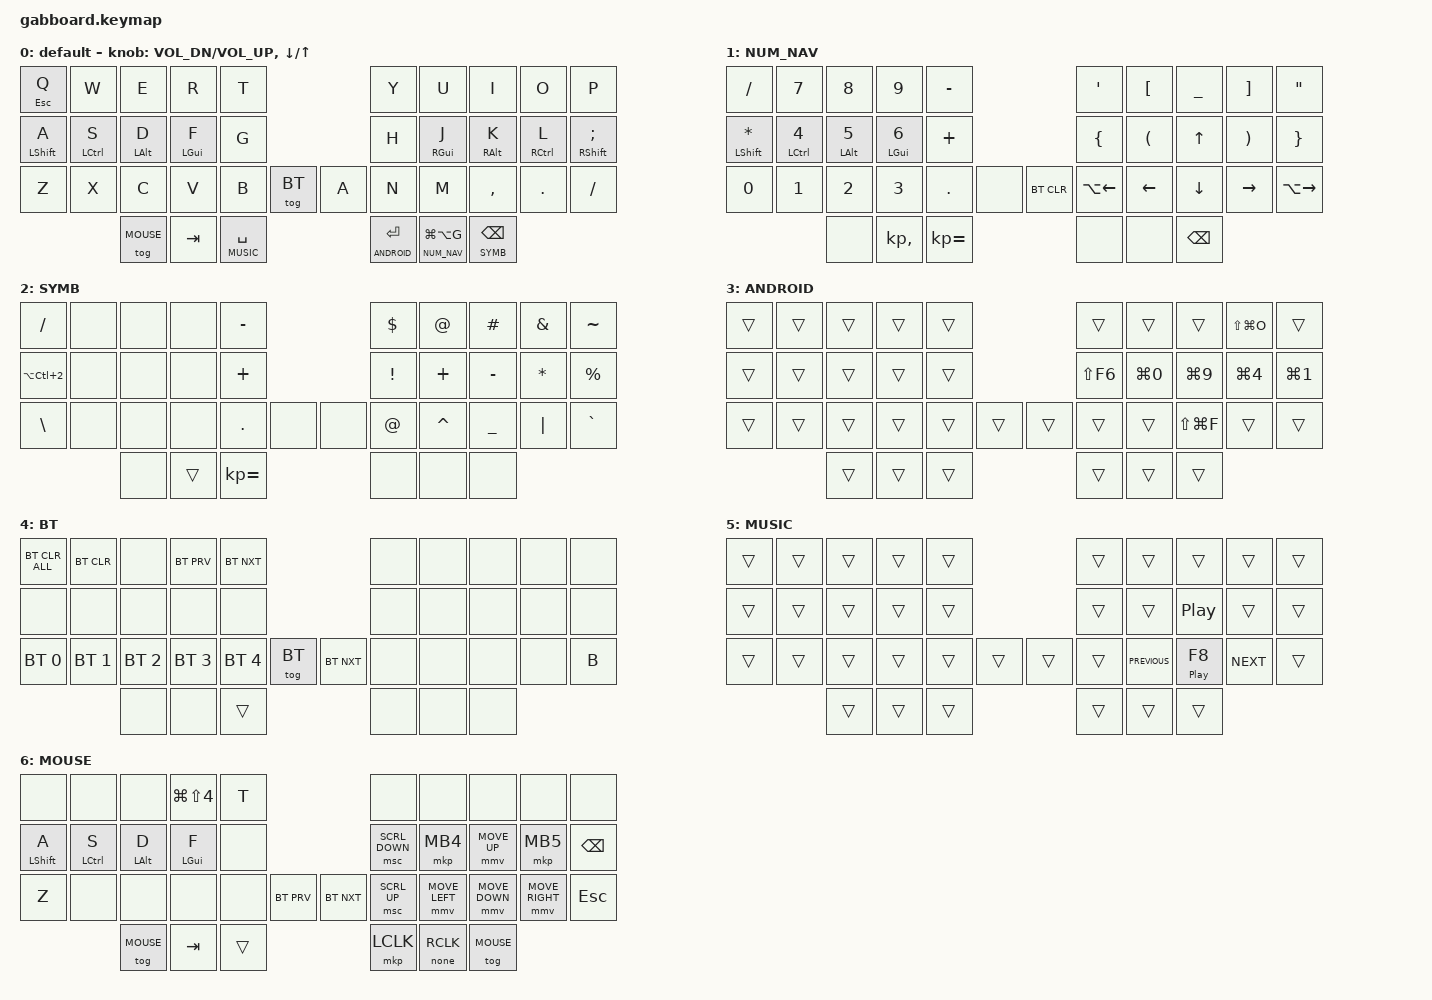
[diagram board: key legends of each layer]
/*
 * Copyright (c) 2020 The ZMK Contributors
 *
 * SPDX-License-Identifier: MIT
 */

#include <behaviors.dtsi>
#include <dt-bindings/zmk/bt.h>
#include <dt-bindings/zmk/keys.h>
#include <dt-bindings/zmk/pointing.h>
#include "mouse.dtsi"

// Layers

#define DEFAULT 0
#define NUM_NAV 1
#define SYMB 2
#define ANDROID 3
#define BT 4
#define MUSIC 5
#define MOUSE 6

/ {
    behaviors {
        hml: home_row_mod_left {
            compatible = "zmk,behavior-hold-tap";
            #binding-cells = <2>;
            flavor = "balanced";
            require-prior-idle-ms = <150>;
            tapping-term-ms = <200>;
            quick-tap-ms = <175>;
            bindings = <&kp>, <&kp>;
            hold-trigger-key-positions = < 5 6 7 8 9 15 16 17 18 19 27 28 29 30 31 35 36 37 >;
            hold-trigger-on-release;
        };

        hmr: home_row_mod_right {
            compatible = "zmk,behavior-hold-tap";
            #binding-cells = <2>;
            flavor = "balanced";
            require-prior-idle-ms = <150>;
            tapping-term-ms = <200>;
            quick-tap-ms = <175>;
            bindings = <&kp>, <&kp>;
            hold-trigger-key-positions = < 0 1 2 3 4 10 11 12 13 14 20 21 22 23 24 32 33 34 >;
            hold-trigger-on-release;
        };

        hm: homerow_mods {
            compatible = "zmk,behavior-hold-tap";
            label = "HOMEROW_MODS";
            #binding-cells = <2>;
            tapping-term-ms = <200>;
            quick-tap-ms = <0>;
            flavor = "balanced";
            bindings = <&kp>, <&kp>;
        };

        hplt: hold_preferred-lt {
            compatible = "zmk,behavior-hold-tap";
            label = "HOLD_PREFERRED_LT";
            #binding-cells = <2>;
            tapping-term-ms = <195>;
            quick-tap-ms = <0>;
            flavor = "hold-preferred";
            bindings = <&mo>, <&kp>;
        };

        hms: homerow_mod_shift {
            compatible = "zmk,behavior-hold-tap";
            label = "HOMEROW_MOD_SHIFT";
            #binding-cells = <2>;
            tapping-term-ms = <170>;
            quick-tap-ms = <0>;
            flavor = "balanced";
            bindings = <&kp>, <&kp>;
        };

        q_esc: q_esc {
            compatible = "zmk,behavior-hold-tap";
            label = "Q_ESC";
            bindings = <&kp>, <&kp>;

            #binding-cells = <2>;
            tapping-term-ms = <200>;
            flavor = "tap-preferred";
        };

        mouse_hold_tap: mouse_hold_tap {
            compatible = "zmk,behavior-hold-tap";
            label = "MOUSE_HOLD_TAP";
            bindings = <&none>, <&mkp>;

            #binding-cells = <2>;
            tapping-term-ms = <200>;
        };
    };

/*                KEY POSITIONS
  ╭─────────────────────╮        ╭──────────────────────╮
  │  0   1   2   3   4  │        │   5   6   7   8   9  │
  │ 10  11  12  13  14  │        │  15  16  17  18  19  │
  │ 20  21  22  23  24  25      26  27  28  29  30  31  │
  ╰─────────32╮ 33  34  │        │  35  36╭─37──────────╯
              ╰─────────╯        ╰────────╯            */

    combos {
        compatible = "zmk,combos";

        copy {
            bindings = <&kp LG(C)>;
            key-positions = <12 13>;
        };

        paste {
            bindings = <&kp LG(V)>;
            key-positions = <13 14>;
        };

        BT {
            bindings = <&tog BT>;
            key-positions = <1 2>;
        };

        LOCK {
            bindings = <&kp LC(LG(Q))>;
            key-positions = <8 9>;
        };

        CAPS_LOCK {
            bindings = <&kp CAPSLOCK>;
            key-positions = <10 19>;
        };
    };

    keymap {
        compatible = "zmk,keymap";

        default {
            bindings = <
&q_esc ESC Q  &kp W        &kp E       &kp R        &kp T                                   &kp Y              &kp U                  &kp I            &kp O        &kp P
&hms LSHFT A  &hm LCTRL S  &hm LALT D  &hm LGUI F   &kp G                                   &kp H              &hm RGUI J             &hm RALT K       &hm RCTRL L  &hms RSHFT SEMI
&kp Z         &kp X        &kp C       &kp V        &kp B       &tog BT         &kp A       &kp N              &kp M                  &kp COMMA        &kp DOT      &kp FSLH
                           &tog MOUSE  &kp TAB      &lt MUSIC SPACE                         &lt ANDROID ENTER  &lt NUM_NAV LG(LA(G))  &lt SYMB BACKSPACE
            >;

            sensor-bindings = <&inc_dec_kp C_VOL_DN C_VOL_UP &inc_dec_kp DOWN UP>;
        };

        NUM_NAV {
            bindings = <
&kp SLASH               &kp N7           &kp N8        &kp N9           &kp MINUS                                            &kp SINGLE_QUOTE    &kp LEFT_BRACKET        &kp UNDERSCORE      &kp RIGHT_BRACKET   &kp DOUBLE_QUOTES
&hms LSHFT ASTERISK     &hm LCTRL N4     &hm LALT N5   &hm LGUI N6      &kp PLUS                                             &kp LEFT_BRACE      &kp LEFT_PARENTHESIS    &kp UP              &kp RPAR            &kp RIGHT_BRACE
&kp N0                  &kp N1           &kp N2        &kp N3           &kp DOT         &none             &bt BT_CLR         &kp LA(LEFT)        &kp LEFT                &kp DOWN            &kp RIGHT           &kp LA(RIGHT_ARROW)
                                         &none         &kp KP_COMMA     &kp KP_EQUAL                                         &none               &none                   &kp BACKSPACE
            >;
        };

        SYMB {
            bindings = <
&kp SLASH          &none    &none   &none   &kp MINUS                         &kp DLLR        &kp AT      &kp HASH         &kp AMPS     &kp TILDE
&kp LA(LC(N2))     &none    &none   &none   &kp PLUS                          &kp EXCL        &kp PLUS    &kp MINUS        &kp STAR     &kp PRCNT
&kp BACKSLASH      &none    &none   &none   &kp DOT         &none   &none     &kp AT          &kp CARET   &kp UNDERSCORE   &kp PIPE     &kp GRAVE
                            &none   &trans  &kp KP_EQUAL                      &none           &none       &none
            >;
        };

        ANDROID {
            bindings = <
&trans  &trans  &trans  &trans  &trans                  &trans      &trans      &trans          &kp LS(LG(O))   &trans
&trans  &trans  &trans  &trans  &trans                  &kp LS(F6)  &kp LG(N0)  &kp LG(N9)      &kp LG(N4)      &kp LG(N1)
&trans  &trans  &trans  &trans  &trans  &trans  &trans  &trans      &trans      &kp LS(LG(F))   &trans          &trans
                &trans  &trans  &trans                  &trans      &trans      &trans
            >;
        };

        BT {
            bindings = <
&bt BT_CLR_ALL  &bt BT_CLR    &none         &bt BT_PRV    &bt BT_NXT                                    &none     &none     &none     &none       &none
&none           &none         &none         &none         &none                                         &none     &none     &none     &none       &none
&bt BT_SEL 0    &bt BT_SEL 1  &bt BT_SEL 2  &bt BT_SEL 3  &bt BT_SEL 4      &tog BT     &bt BT_NXT      &none     &none     &none     &none       &kp B
                              &none         &none         &trans                                        &none     &none     &none
            >;
        };

        MUSIC {
            bindings = <
&trans  &trans  &trans  &trans  &trans                  &trans  &trans          &trans               &trans       &trans
&trans  &trans  &trans  &trans  &trans                  &trans  &trans          &kp C_PLAY_PAUSE     &trans       &trans
&trans  &trans  &trans  &trans  &trans  &trans  &trans  &trans  &kp C_PREVIOUS  &mt C_PLAY_PAUSE F8  &kp C_NEXT   &trans
                &trans  &trans  &trans                  &trans  &trans          &trans
            >;
        };

        MOUSE {
            bindings = <
&none           &none           &none       &kp LG(LS(NUMBER_4))    &kp T                                      &none             &none                   &none           &none               &none
&hms LSHFT A    &hm LCTRL S     &hm LALT D  &hm LGUI F              &none                                      &msc SCRL_DOWN    &mkp MB4                &mmv MOVE_UP    &mkp MB5            &kp BACKSPACE
&kp Z           &none           &none       &none                   &none     &bt BT_PRV         &bt BT_NXT    &msc SCRL_UP      &mmv MOVE_LEFT          &mmv MOVE_DOWN  &mmv MOVE_RIGHT     &kp ESC
                                &tog MOUSE  &kp TAB                 &trans                                     &mkp LCLK         &mouse_hold_tap 0 RCLK  &tog MOUSE
            >;
        };

    };
};
